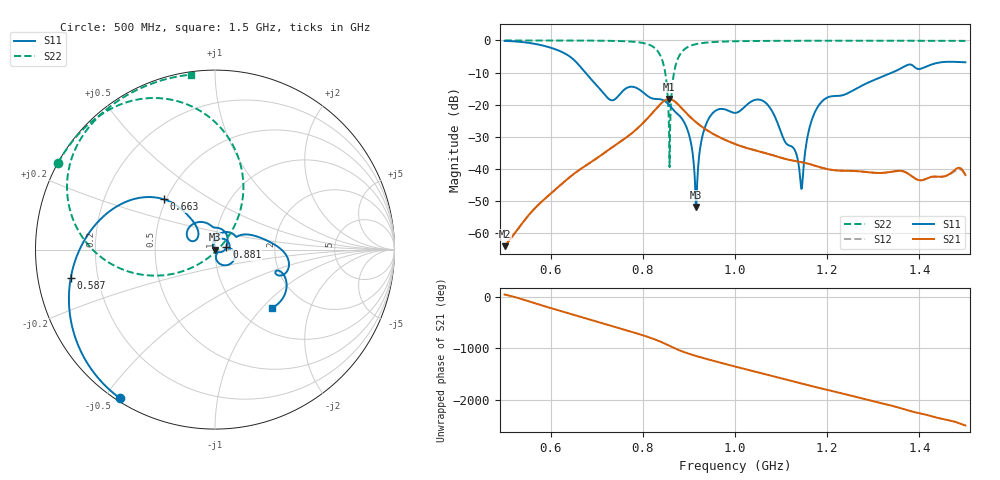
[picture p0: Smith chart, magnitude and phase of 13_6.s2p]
! TOUCHSTONE file generated by CST MICROWAVE STUDIO
! Date and time: Fri Oct  2 18:56:18 2020
! Project name: Scenario_1_Free_Space_out_of_line.cst
! Parameters = {Lambda=346.42; Step_1=17.321; dy1=139.548; dx1=1039; L_HA=400; MT=2.54; Rad_Dielectric=30; Rad_Lower=7.3; Rad_Upper=30; a_HA=580; a_WG=246; b_HA=500; b_WG=121; c_HA=0; c_WG=187; d_feed=85; h_feed=15; h_lower=18; h_upper=40}
! Header version: 2018
! Port assignment regex: !\s*Touchstone port\s*([0-9]+)\s*=\s*(CST MWS port|CST DS port)\s*([0-9]+|Zmin|Zmax)\s*\(\"(.*)\"\)(\s*mode\s*([0-9]+))?.*
! Touchstone port assignment:
! Touchstone port 1 = CST MWS port 1 ("")
! Touchstone port 2 = CST MWS port 2 ("")
# GHz S DB R 50
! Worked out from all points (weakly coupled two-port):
!   1003 points, 500 MHz to 1.5 GHz, reference 50 ohm
!   highest |S21| = -18.27 dB at 857 MHz (marker M1); lowest = -64.1 dB at 500 MHz (marker M2)
!   lowest |S11| = -52.0 dB at 916 MHz (marker M3), VSWR 1.01, Z = 49.8 - j0.0606 ohm
!   |S11| at or under -10 dB: 674.8 MHz to 1.341 GHz (666.5 MHz wide, 66.1 % of centre)
!   |S22| runs from -39.5 to 0.0 dB; largest |S21 - S12| = 0.00062
!   S11 on the Smith chart (normalised r, x): 500 MHz: 0.01, -0.55; 587 MHz: 0.10, -0.10; 663 MHz: 0.49, +0.32; 881 MHz: 1.14, +0.03; 1.5 GHz: 1.39, -1.14
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0.5  -0.15 -122.6  -64.15 44.2  -64.15 44.2  -0.01 151.1
0.587  -1.74 -169.0  -49.42 176.2  -49.40 176.1  -0.02 145.1
0.663  -7.97 135.5  -40.28 -23.4  -40.28 -23.4  -0.04 138.7
0.667  -8.65 133.4  -39.89 -34.1  -39.89 -34.1  -0.04 138.3
0.73  -18.57 143.8  -33.67 160.3  -33.67 160.3  -0.13 130.7
0.834  -18.28 82.4  -20.49 -135.6  -20.49 -135.6  -3.69 85.3
0.847  -18.83 62.6  -18.77 173.1  -18.77 173.1  -8.86 64.1
0.857  -20.11 45.8  -18.27 129.9  -18.27 129.9  -29.09 28.4
0.868  -21.96 31.4  -18.89 82.8  -18.89 82.8  -9.79 -153.7
0.881  -23.71 13.1  -20.62 33.4  -20.62 33.4  -4.29 -174.2
0.901  -29.79 -26.9  -23.61 -29.7  -23.61 -29.7  -1.81 167.6
0.916  -51.96 -166.0  -25.55 -71.0  -25.55 -71.0  -1.13 159.6
0.928  -30.65 105.7  -26.89 -102.1  -26.89 -102.1  -0.83 155.0
0.943  -24.37 72.7  -28.33 -139.5  -28.33 -139.5  -0.60 150.6
1  -22.58 3.7  -32.29 85.5  -32.29 85.5  -0.26 140.2
1.068  -19.63 -57.2  -35.19 -71.2  -35.19 -71.2  -0.15 132.6
1.13  -34.24 -56.1  -37.57 148.9  -37.57 148.9  -0.11 127.1
1.144  -46.30 -137.7  -37.93 116.9  -37.93 116.9  -0.10 126.0
1.167  -24.66 93.1  -38.76 63.9  -38.76 63.9  -0.10 124.2
1.197  -18.06 50.4  -40.02 -1.8  -40.02 -1.8  -0.09 121.8
1.334  -10.45 9.0  -41.07 57.6  -41.10 57.3  -0.09 111.4
1.5  -6.81 -45.6  -41.97 19.9  -41.96 19.9  -0.14 97.9
